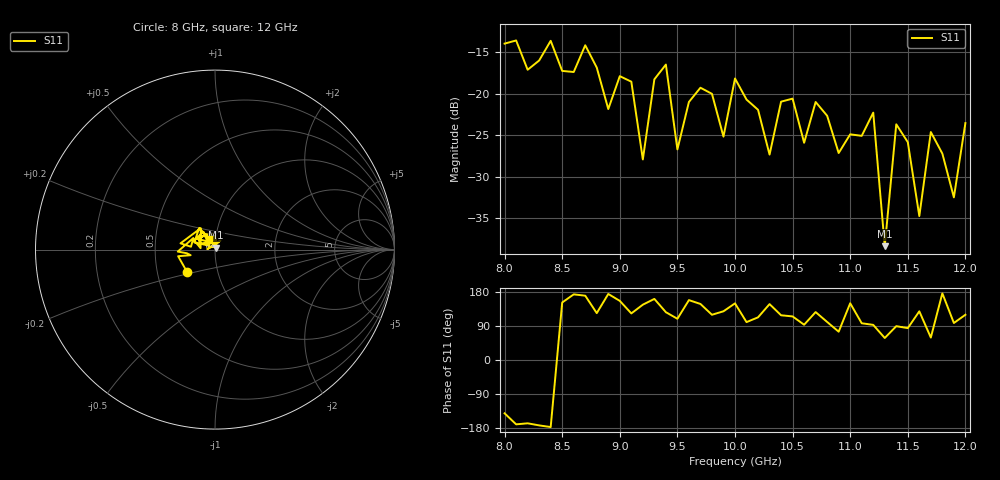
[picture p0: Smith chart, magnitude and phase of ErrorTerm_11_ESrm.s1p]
!  1-Port S-parameters saved by WinCal
! VAR NAME=2-Port SOLT labuser 3
! VAR Error Term Name=ESrm phys rcv port 1 phys src port 1
# Hz S RI R 50
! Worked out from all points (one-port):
!   41 points, 8 GHz to 12 GHz, reference 50 ohm
!   lowest |S11| = -38.4 dB at 11.3 GHz (marker M1), VSWR 1.02, Z = 50.6 + j1.04 ohm
!   |S11| at or under -10 dB: start of sweep to end of sweep
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8e9  -0.1546 -0.1264
8.5e9  -0.1205 0.0647
8.7e9  -0.1921 0.035
8.9e9  -0.0803 0.00808
9e9  -0.1163 0.0518
9.1e9  -0.0641 0.0989
9.2e9  -0.0333 0.0225
9.3e9  -0.1153 0.0393
9.4e9  -0.0881 0.1206
9.5e9  -0.0149 0.0437
9.7e9  -0.0918 0.0577
9.9e9  -0.0343 0.0431
1e10  -0.1061 0.0627
1.03e10  -0.0362 0.0231
1.04e10  -0.042 0.0789
1.05e10  -0.0394 0.0845
1.06e10  -0.00272 0.0505
1.07e10  -0.0528 0.0716
1.09e10  0.0116 0.0423
1.1e10  -0.0491 0.0287
1.12e10  -0.00357 0.0767
1.13e10  0.0064 0.0103
1.14e10  0.000844 0.0653
1.15e10  0.00521 0.0508
1.16e10  -0.0114 0.0144
1.17e10  0.0301 0.0504
1.19e10  -0.00316 0.0235
1.2e10  -0.0326 0.0579
